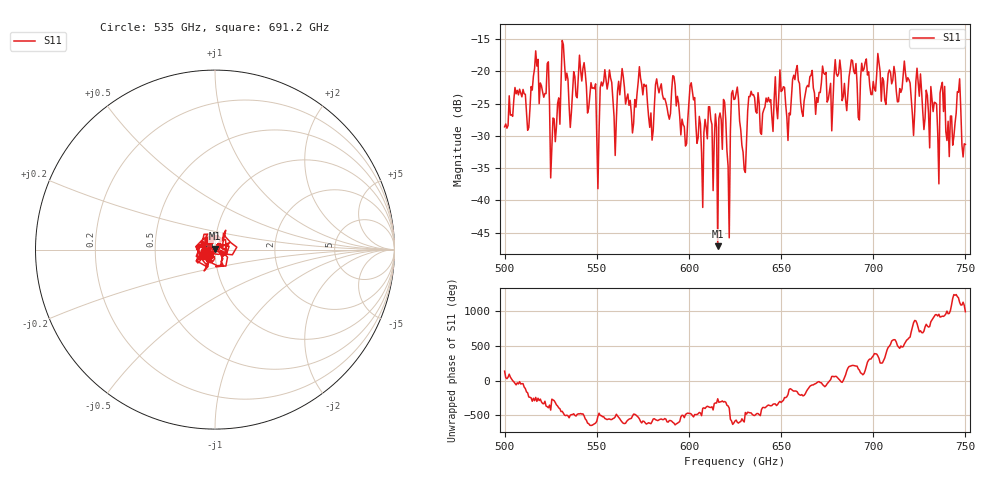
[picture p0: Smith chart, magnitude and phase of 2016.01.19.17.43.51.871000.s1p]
!Created with skrf (http://scikit-rf.org).
# GHz S RI R 50.0
!freq ReS11 ImS11
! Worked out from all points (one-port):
!   401 points, 500 GHz to 750 GHz, reference 50 ohm
!   lowest |S11| = -47.1 dB at 615.6 GHz (marker M1), VSWR 1.01, Z = 49.9 + j0.434 ohm
!   |S11| at or under -10 dB: start of sweep to end of sweep
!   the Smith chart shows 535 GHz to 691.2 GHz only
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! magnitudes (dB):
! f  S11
! 500 GHz  -28.6
! 513.1 GHz  -28.7
! 516.9 GHz  -16.8
! 526.2 GHz  -27.2
! 531.2 GHz  -15.2
! 535.6 GHz  -28.7
! 541.9 GHz  -21.5
! 550 GHz  -30.2
! 553.1 GHz  -22.3
! 560 GHz  -33.1
! 562.5 GHz  -23.7
! 579.4 GHz  -26.5
! 583.1 GHz  -22.4
! 593.8 GHz  -23.9
! 615.6 GHz  -47.1
! 618.8 GHz  -24.4
! 621.2 GHz  -34.7
! 625 GHz  -24.3
! 630 GHz  -35.3
! 633.8 GHz  -23.1
! 656.2 GHz  -21.3
! 687.5 GHz  -19.7
! 718.8 GHz  -21.0
! 734.4 GHz  -25.1
! 737.5 GHz  -21.7
! 740.6 GHz  -27.8
! 746.2 GHz  -23.3
! 750 GHz  -31.3
